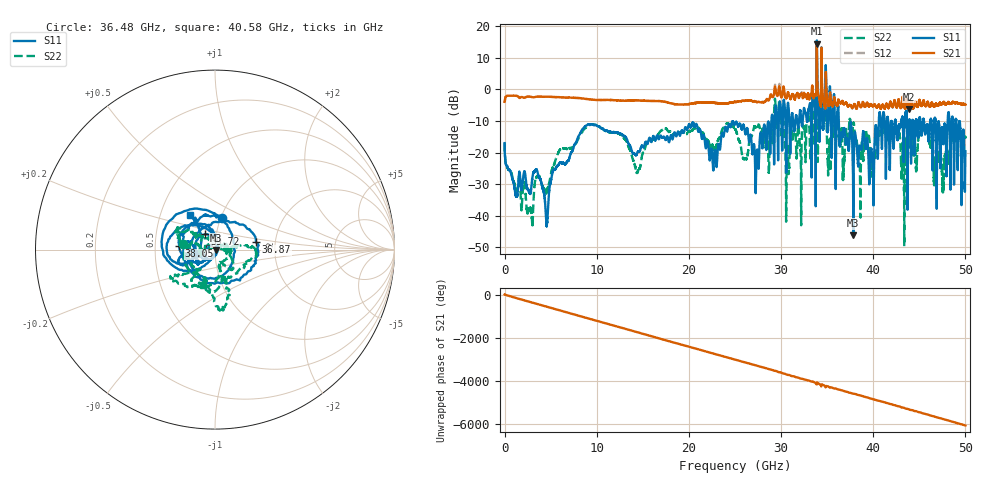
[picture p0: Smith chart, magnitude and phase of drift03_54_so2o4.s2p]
!Created with skrf (http://scikit-rf.org).
# Hz S RI R 50.0
!freq ReS11 ImS11 ReS21 ImS21 ReS12 ImS12 ReS22 ImS22
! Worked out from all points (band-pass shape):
!   10001 points, 300 kHz to 50 GHz, reference 50 ohm
!   highest |S21| = 14.48 dB at 33.88 GHz (marker M1); lowest = -6.2 dB at 43.9 GHz (marker M2)
!   |S21| within 3 dB of the highest: 33.86928 GHz to 33.88828 GHz (19 MHz wide, 0.0561 % of centre); 34.37701 GHz to 34.38909 GHz (12.08 MHz wide, 0.0351 % of centre)
!   lowest |S11| = -46.2 dB at 37.84 GHz (marker M3), VSWR 1.01, Z = 50.5 - j0.182 ohm
!   |S11| at or under -10 dB: start of sweep to 28.94 GHz; 36.26 GHz to 40.61 GHz (4.341 GHz wide, 11.3 % of centre); 46.74 GHz to 48.08 GHz (1.337 GHz wide, 2.82 % of centre) (the widest 3 of 55)
!   |S22| runs from -49.6 to 11.1 dB; largest |S21 - S12| = 0.82
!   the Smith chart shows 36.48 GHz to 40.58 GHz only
!   S11 on the Smith chart (normalised r, x): 36.48 GHz: 1.01, +0.37; 36.87 GHz: 1.58, +0.14; 38.05 GHz: 0.67, +0.03; 39.72 GHz: 0.88, +0.15; 40.58 GHz: 0.71, +0.29
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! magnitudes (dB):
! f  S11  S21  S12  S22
! 300 kHz  -17.0  -4.0  -4.0  -16.9
! 2.825 GHz  -32.6  -2.4  -2.4  -38.2
! 4.555 GHz  -43.3  -2.3  -2.3  -32.4
! 8.335 GHz  -13.1  -2.8  -2.8  -13.9
! 14.44 GHz  -19.9  -3.5  -3.5  -26.1
! 16.67 GHz  -15.4  -3.7  -3.7  -14.3
! 22.82 GHz  -19.2  -4.3  -4.3  -19.1
! 25 GHz  -11.0  -4.0  -4.0  -12.5
! 27.39 GHz  -19.4  -4.1  -4.1  -12.4
! 29.6 GHz  -10.4  -2.0  -2.1  -11.7
! 30.7 GHz  -5.7  -1.4  -1.5  -17.2
! 33.34 GHz  -13.8  -0.4  -0.5  -7.0
! 33.88 GHz  15.4  14.5  14.2  11.0
! 36.48 GHz  -14.9  -4.4  -4.3  -14.8
! 36.87 GHz  -12.7  -4.7  -4.6  -21.6
! 37.84 GHz  -46.2  -5.5  -5.5  -11.1
! 38.05 GHz  -13.9  -5.2  -5.2  -17.1
! 39.72 GHz  -19.8  -4.7  -4.6  -20.9
! 40.58 GHz  -12.4  -4.9  -4.9  -13.6
! 41.67 GHz  -12.2  -5.9  -5.9  -15.3
! 43.9 GHz  -9.8  -6.2  -6.2  -17.1
! 50 GHz  -19.6  -4.9  -4.9  -15.1
